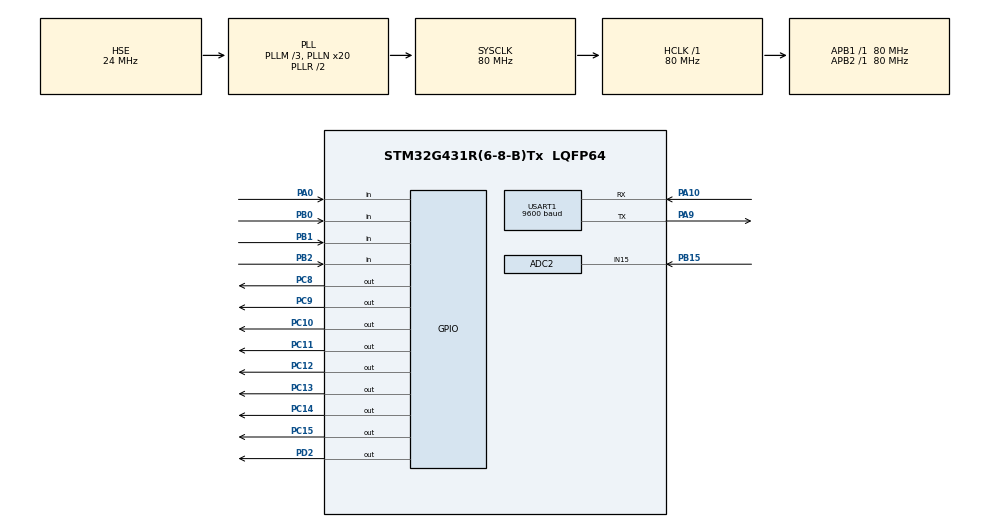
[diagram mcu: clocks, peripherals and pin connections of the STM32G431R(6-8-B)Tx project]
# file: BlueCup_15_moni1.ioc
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ADC2.Channel-0\#ChannelRegularConversion=ADC_CHANNEL_15
ADC2.NbrOfConversionFlag=1
ADC2.OffsetNumber-0\#ChannelRegularConversion=ADC_OFFSET_NONE
ADC2.Rank-0\#ChannelRegularConversion=1
ADC2.SamplingTime-0\#ChannelRegularConversion=ADC_SAMPLETIME_2CYCLES_5
Dma.Request0=USART1_RX
Dma.Request1=USART1_TX
Dma.USART1_RX.0.Direction=DMA_PERIPH_TO_MEMORY
Dma.USART1_RX.0.EventEnable=DISABLE
Dma.USART1_RX.0.Instance=DMA1_Channel1
Dma.USART1_RX.0.MemDataAlignment=DMA_MDATAALIGN_BYTE
Dma.USART1_RX.0.MemInc=DMA_MINC_ENABLE
Dma.USART1_RX.0.Mode=DMA_CIRCULAR
Dma.USART1_RX.0.PeriphDataAlignment=DMA_PDATAALIGN_BYTE
Dma.USART1_RX.0.PeriphInc=DMA_PINC_DISABLE
Dma.USART1_RX.0.Polarity=HAL_DMAMUX_REQ_GEN_RISING
Dma.USART1_RX.0.Priority=DMA_PRIORITY_LOW
Dma.USART1_RX.0.RequestNumber=1
Dma.USART1_RX.0.SignalID=NONE
Dma.USART1_RX.0.SyncEnable=DISABLE
Dma.USART1_RX.0.SyncPolarity=HAL_DMAMUX_SYNC_NO_EVENT
Dma.USART1_RX.0.SyncRequestNumber=1
Dma.USART1_RX.0.SyncSignalID=NONE
Dma.USART1_TX.1.Direction=DMA_MEMORY_TO_PERIPH
Dma.USART1_TX.1.EventEnable=DISABLE
Dma.USART1_TX.1.Instance=DMA1_Channel2
Dma.USART1_TX.1.MemDataAlignment=DMA_MDATAALIGN_BYTE
Dma.USART1_TX.1.MemInc=DMA_MINC_ENABLE
Dma.USART1_TX.1.Mode=DMA_NORMAL
Dma.USART1_TX.1.PeriphDataAlignment=DMA_PDATAALIGN_BYTE
Dma.USART1_TX.1.PeriphInc=DMA_PINC_DISABLE
Dma.USART1_TX.1.Polarity=HAL_DMAMUX_REQ_GEN_RISING
Dma.USART1_TX.1.Priority=DMA_PRIORITY_LOW
Dma.USART1_TX.1.RequestNumber=1
Dma.USART1_TX.1.SignalID=NONE
Dma.USART1_TX.1.SyncEnable=DISABLE
Dma.USART1_TX.1.SyncPolarity=HAL_DMAMUX_SYNC_NO_EVENT
Dma.USART1_TX.1.SyncRequestNumber=1
Dma.USART1_TX.1.SyncSignalID=NONE
Mcu.Family=STM32G4
Mcu.Name=STM32G431R(6-8-B)Tx
Mcu.Package=LQFP64
NVIC.DMA1_Channel1_IRQn=true\:0\:0\:false\:false\:true\:false\:true\:true
NVIC.DMA1_Channel2_IRQn=true\:0\:0\:false\:false\:true\:false\:true\:true
NVIC.PriorityGroup=NVIC_PRIORITYGROUP_4
NVIC.USART1_IRQn=true\:0\:0\:false\:false\:true\:true\:true\:true
PA0.Signal=GPIO_Input
PA10.Mode=Asynchronous
PA10.Signal=USART1_RX
PA9.Mode=Asynchronous
PA9.Signal=USART1_TX
PB0.Signal=GPIO_Input
PB1.Signal=GPIO_Input
PB15.Mode=IN15-Single-Ended
PB15.Signal=ADC2_IN15
PB2.Signal=GPIO_Input
PC10.Signal=GPIO_Output
PC11.Signal=GPIO_Output
PC12.Signal=GPIO_Output
PC13.Signal=GPIO_Output
PC14-OSC32_IN.Signal=GPIO_Output
PC15-OSC32_OUT.Signal=GPIO_Output
PC8.Signal=GPIO_Output
PC9.Signal=GPIO_Output
PD2.Signal=GPIO_Output
PF0-OSC_IN.Mode=HSE-External-Oscillator
PF0-OSC_IN.Signal=RCC_OSC_IN
PF1-OSC_OUT.Mode=HSE-External-Oscillator
PF1-OSC_OUT.Signal=RCC_OSC_OUT
ProjectManager.HeapSize=0x200
ProjectManager.StackSize=0x400
ProjectManager.TargetToolchain=MDK-ARM V5.32
RCC.ADC12Freq_Value=80000000
RCC.AHBFreq_Value=80000000
RCC.APB1Freq_Value=80000000
RCC.APB1TimFreq_Value=80000000
RCC.APB2Freq_Value=80000000
RCC.APB2TimFreq_Value=80000000
RCC.CortexFreq_Value=80000000
RCC.EXTERNAL_CLOCK_VALUE=12288000
RCC.HCLKFreq_Value=80000000
RCC.HSE_VALUE=24000000
RCC.HSI48_VALUE=48000000
RCC.HSI_VALUE=16000000
RCC.PLLM=RCC_PLLM_DIV3
RCC.PLLN=20
RCC.PLLSourceVirtual=RCC_PLLSOURCE_HSE
RCC.SYSCLKFreq_VALUE=80000000
RCC.SYSCLKSource=RCC_SYSCLKSOURCE_PLLCLK
RCC.USBFreq_Value=80000000
RCC.VCOOutputFreq_Value=160000000
USART1.BaudRate=9600
USART1.VirtualMode-Asynchronous=VM_ASYNC
VP_SYS_VS_DBSignals.Mode=DisableDeadBatterySignals
board=custom

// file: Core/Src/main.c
/* USER CODE BEGIN Header */
/**
  ******************************************************************************
  * @file           : main.c
  * @brief          : Main program body
  ******************************************************************************
  * @attention
  *
  * Copyright (c) 2025 STMicroelectronics.
  * All rights reserved.
  *
  * This software is licensed under terms that can be found in the LICENSE file
  * in the root directory of this software component.
  * If no LICENSE file comes with this software, it is provided AS-IS.
  *
  ******************************************************************************
  */
/* USER CODE END Header */
#include "main.h"
#include "adc.h"
#include "dma.h"
#include "usart.h"
#include "gpio.h"

/* USER CODE BEGIN Includes */
#include "key.h"
#include "led.h"
#include "lcd.h"
#include "pot.h"
#include "stdio.h"
#include "string.h"
/* USER CODE END Includes */

/* USER CODE BEGIN PV */
uint8_t     page        = 0;
char        dir         = 'S';
uint32_t    dir_timer   = 0;
uint16_t    distance    = 0;//dm

uint8_t     rx_buff[20] = {0};
uint8_t     rx_single[1]= {0};
/* USER CODE END PV */

void SystemClock_Config(void);

/* USER CODE BEGIN 0 */
void UI_Proc();
void KEY_Proc();
/* USER CODE END 0 */

int main(void)
{

  /* MCU Configuration--------------------------------------------------------*/

  /* Reset of all peripherals, Initializes the Flash interface and the Systick. */
  HAL_Init();

  /* Configure the system clock */
  SystemClock_Config();

  /* Initialize all configured peripherals */
  MX_GPIO_Init();
  MX_DMA_Init();
  MX_USART1_UART_Init();
  MX_ADC2_Init();
  /* USER CODE BEGIN 2 */
    LCD_Init();
    LCD_Clear(Black);
    LCD_SetBackColor(Black);
    LCD_SetTextColor(White);

    HAL_UART_Receive_DMA(&huart1, rx_single, 1);
  /* USER CODE END 2 */

  /* Infinite loop */
  /* USER CODE BEGIN WHILE */
  while (1)
  {
      KEY_Proc();
      UI_Proc();
    /* USER CODE END WHILE */

  }
}

void SystemClock_Config(void)
{
  RCC_OscInitTypeDef RCC_OscInitStruct = {0};
  RCC_ClkInitTypeDef RCC_ClkInitStruct = {0};

  /** Configure the main internal regulator output voltage
  */
  HAL_PWREx_ControlVoltageScaling(PWR_REGULATOR_VOLTAGE_SCALE1);

  /** Initializes the RCC Oscillators according to the specified parameters
  * in the RCC_OscInitTypeDef structure.
  */
  RCC_OscInitStruct.OscillatorType = RCC_OSCILLATORTYPE_HSE;
  RCC_OscInitStruct.HSEState = RCC_HSE_ON;
  RCC_OscInitStruct.PLL.PLLState = RCC_PLL_ON;
  RCC_OscInitStruct.PLL.PLLSource = RCC_PLLSOURCE_HSE;
  RCC_OscInitStruct.PLL.PLLM = RCC_PLLM_DIV3;
  RCC_OscInitStruct.PLL.PLLN = 20;
  RCC_OscInitStruct.PLL.PLLP = RCC_PLLP_DIV2;
  RCC_OscInitStruct.PLL.PLLQ = RCC_PLLQ_DIV2;
  RCC_OscInitStruct.PLL.PLLR = RCC_PLLR_DIV2;
  if (HAL_RCC_OscConfig(&RCC_OscInitStruct) != HAL_OK)
  {
    Error_Handler();
  }

  /** Initializes the CPU, AHB and APB buses clocks
  */
  RCC_ClkInitStruct.ClockType = RCC_CLOCKTYPE_HCLK|RCC_CLOCKTYPE_SYSCLK
                              |RCC_CLOCKTYPE_PCLK1|RCC_CLOCKTYPE_PCLK2;
  RCC_ClkInitStruct.SYSCLKSource = RCC_SYSCLKSOURCE_PLLCLK;
  RCC_ClkInitStruct.AHBCLKDivider = RCC_SYSCLK_DIV1;
  RCC_ClkInitStruct.APB1CLKDivider = RCC_HCLK_DIV1;
  RCC_ClkInitStruct.APB2CLKDivider = RCC_HCLK_DIV1;

  if (HAL_RCC_ClockConfig(&RCC_ClkInitStruct, FLASH_LATENCY_2) != HAL_OK)
  {
    Error_Handler();
  }
}

/* USER CODE BEGIN 4 */
void UI_Proc(){
    char buff[20] = "";
    switch (page)
    {
    	case 0:
            LCD_DisplayStringLine(Line1, (u8*)"        DATA        ");
            sprintf(buff, "       N:%c",dir);
            LCD_DisplayStringLine(Line3, (u8*)buff);
            sprintf(buff, "       D:%d",distance);
            LCD_DisplayStringLine(Line4, (u8*)buff);
    		break;
    	case 1:
            LCD_DisplayStringLine(Line4, (u8*)"        WARN        ");
    		break;
    }
}

void KEY_Proc(){
    KEY_Scan();
    uint8_t key = KEY_GetFlag();
    switch (page)
    {
    	case 0:
            if(key == 3) {
                if(dir == 'L'){
                    if(dir_timer <= 5000) {
                        HAL_UART_Transmit(&huart1, (uint8_t*)"Success\r\n",strlen("Success\r\n"),100);
                        dir = 'S';
                    }
                }else {
                    HAL_UART_Transmit(&huart1, (uint8_t*)"Warn\r\n",strlen("Warn\r\n"),100);
                }
            }
            else if(key == 4) {
                if(dir == 'R'){
                    if(dir_timer <= 5000) {
                        HAL_UART_Transmit(&huart1, (uint8_t*)"Success\r\n",strlen("Success\r\n"),100);
                        dir = 'S';
                    }
                }else {
                    HAL_UART_Transmit(&huart1, (uint8_t*)"Warn\r\n",strlen("Warn\r\n"),100);
                }
            }
    		break;
    	case 1:
            if(key == 1 ) {
                HAL_UART_Transmit(&huart1, (uint8_t*)"Success\r\n",strlen("Success\r\n"),100);
                page = 0;
                LCD_Clear(Black);
                dir = 'S';
            }
            else if(key == 2) {

            }
            else if(key == 3) {

            }
            else if(key == 4) {

            }
    		break;
    }
    if(dir_timer > 5000 && dir != 'S') {
        if(page == 0){
            HAL_UART_Transmit(&huart1, (uint8_t*)"Warn\r\n",strlen("Warn\r\n"),100);
            LCD_Clear(Black);
        }
        page = 1;
    }
}

void HAL_UART_RxCpltCallback(UART_HandleTypeDef *huart) {
    if(huart == &huart1) {
        static uint8_t index = 0;
        rx_buff[index] = rx_single[0];
        index ++;

        if(index == 1) {
            switch (page){
                case 0:
                    if(rx_buff[0] == 'L') {
                        dir = 'L';
                        dir_timer = 0;
                    }else if(rx_buff[0] == 'R') {
                        dir = 'R';
                        dir_timer = 0;
                    }else {
                        HAL_UART_Transmit(&huart1, (uint8_t*)"Error\r\n",strlen("Error\r\n"),100);
                    }
                    break;
                case 1:
                    HAL_UART_Transmit(&huart1, (uint8_t*)"Wait\r\n",strlen("Wait\r\n"),100);
                    break;
            }
            index = 0;
        }
    }
}

/* USER CODE END 4 */

void Error_Handler(void)
{
  __disable_irq();
  while (1)
  {
  }
}
